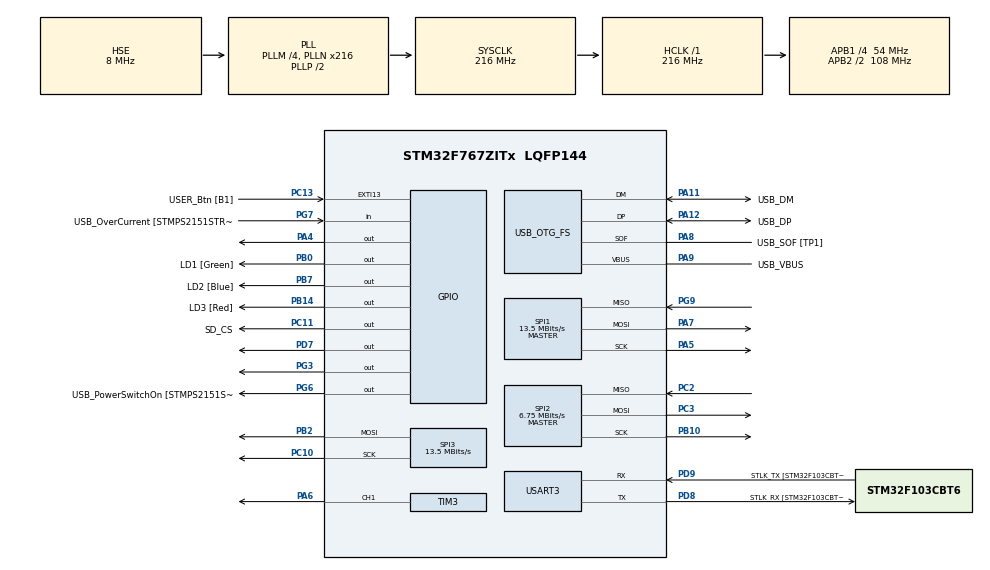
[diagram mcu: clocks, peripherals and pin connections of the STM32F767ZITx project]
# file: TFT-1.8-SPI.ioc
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Dma.Request0=SPI3_TX
Dma.Request1=USART3_RX
Dma.Request2=USART3_TX
Dma.Request3=SPI1_RX
Dma.Request4=SPI1_TX
Dma.SPI1_RX.3.Direction=DMA_PERIPH_TO_MEMORY
Dma.SPI1_RX.3.FIFOMode=DMA_FIFOMODE_DISABLE
Dma.SPI1_RX.3.Instance=DMA2_Stream0
Dma.SPI1_RX.3.MemDataAlignment=DMA_MDATAALIGN_BYTE
Dma.SPI1_RX.3.MemInc=DMA_MINC_ENABLE
Dma.SPI1_RX.3.Mode=DMA_NORMAL
Dma.SPI1_RX.3.PeriphDataAlignment=DMA_PDATAALIGN_BYTE
Dma.SPI1_RX.3.PeriphInc=DMA_PINC_DISABLE
Dma.SPI1_RX.3.Priority=DMA_PRIORITY_HIGH
Dma.SPI1_TX.4.Direction=DMA_MEMORY_TO_PERIPH
Dma.SPI1_TX.4.FIFOMode=DMA_FIFOMODE_DISABLE
Dma.SPI1_TX.4.Instance=DMA2_Stream3
Dma.SPI1_TX.4.MemDataAlignment=DMA_MDATAALIGN_BYTE
Dma.SPI1_TX.4.MemInc=DMA_MINC_ENABLE
Dma.SPI1_TX.4.Mode=DMA_NORMAL
Dma.SPI1_TX.4.PeriphDataAlignment=DMA_PDATAALIGN_BYTE
Dma.SPI1_TX.4.PeriphInc=DMA_PINC_DISABLE
Dma.SPI1_TX.4.Priority=DMA_PRIORITY_HIGH
Dma.SPI3_TX.0.Direction=DMA_MEMORY_TO_PERIPH
Dma.SPI3_TX.0.FIFOMode=DMA_FIFOMODE_DISABLE
Dma.SPI3_TX.0.Instance=DMA1_Stream5
Dma.SPI3_TX.0.MemDataAlignment=DMA_MDATAALIGN_BYTE
Dma.SPI3_TX.0.MemInc=DMA_MINC_ENABLE
Dma.SPI3_TX.0.Mode=DMA_NORMAL
Dma.SPI3_TX.0.PeriphDataAlignment=DMA_PDATAALIGN_BYTE
Dma.SPI3_TX.0.PeriphInc=DMA_PINC_DISABLE
Dma.SPI3_TX.0.Priority=DMA_PRIORITY_LOW
Dma.USART3_RX.1.Direction=DMA_PERIPH_TO_MEMORY
Dma.USART3_RX.1.FIFOMode=DMA_FIFOMODE_DISABLE
Dma.USART3_RX.1.Instance=DMA1_Stream1
Dma.USART3_RX.1.MemDataAlignment=DMA_MDATAALIGN_BYTE
Dma.USART3_RX.1.MemInc=DMA_MINC_ENABLE
Dma.USART3_RX.1.Mode=DMA_NORMAL
Dma.USART3_RX.1.PeriphDataAlignment=DMA_PDATAALIGN_BYTE
Dma.USART3_RX.1.PeriphInc=DMA_PINC_DISABLE
Dma.USART3_RX.1.Priority=DMA_PRIORITY_MEDIUM
Dma.USART3_TX.2.Direction=DMA_MEMORY_TO_PERIPH
Dma.USART3_TX.2.FIFOMode=DMA_FIFOMODE_DISABLE
Dma.USART3_TX.2.Instance=DMA1_Stream3
Dma.USART3_TX.2.MemDataAlignment=DMA_MDATAALIGN_BYTE
Dma.USART3_TX.2.MemInc=DMA_MINC_ENABLE
Dma.USART3_TX.2.Mode=DMA_NORMAL
Dma.USART3_TX.2.PeriphDataAlignment=DMA_PDATAALIGN_BYTE
Dma.USART3_TX.2.PeriphInc=DMA_PINC_DISABLE
Dma.USART3_TX.2.Priority=DMA_PRIORITY_MEDIUM
FATFS._FS_RPATH=1
FREERTOS.Tasks01=StartDefaultTas,24,256,StartDefaultTask,Default,NULL,Dynamic,NULL,NULL;DisplayTask,24,512,StartDisplayTask,Default,NULL,Dynamic,NULL,NULL;SDCardTask,24,1024,StartSDCardTask,Default,NULL,Dynamic,NULL,NULL;UARTTask,24,512,StartUARTTask,Default,NULL,Dynamic,NULL,NULL
FREERTOS.configTOTAL_HEAP_SIZE=40000
Mcu.Family=STM32F7
Mcu.Name=STM32F767ZITx
Mcu.Package=LQFP144
NVIC.DMA1_Stream1_IRQn=true\:5\:0\:false\:false\:true\:true\:false\:true\:true
NVIC.DMA1_Stream3_IRQn=true\:5\:0\:false\:false\:true\:true\:false\:true\:true
NVIC.DMA1_Stream5_IRQn=true\:5\:0\:false\:false\:true\:true\:false\:true\:true
NVIC.DMA2_Stream0_IRQn=true\:5\:0\:false\:false\:true\:true\:false\:true\:true
NVIC.DMA2_Stream3_IRQn=true\:5\:0\:false\:false\:true\:true\:false\:true\:true
NVIC.PriorityGroup=NVIC_PRIORITYGROUP_4
NVIC.SPI1_IRQn=true\:5\:0\:false\:false\:true\:true\:true\:true\:true
NVIC.SPI2_IRQn=true\:5\:0\:false\:false\:true\:true\:true\:true\:true
NVIC.TIM6_DAC_IRQn=true\:15\:0\:false\:false\:true\:false\:false\:true\:true
NVIC.TimeBase=TIM6_DAC_IRQn
NVIC.TimeBaseIP=TIM6
NVIC.USART3_IRQn=true\:6\:0\:true\:false\:true\:true\:true\:true\:true
PA1.GPIO_Label=RMII_REF_CLK [LAN8742A-CZ-TR_REFCLK0]
PA1.Signal=ETH_REF_CLK
PA10.GPIO_Label=USB_ID
PA10.Signal=USB_OTG_FS_ID
PA11.GPIO_Label=USB_DM
PA11.Mode=Device_Only
PA11.Signal=USB_OTG_FS_DM
PA12.GPIO_Label=USB_DP
PA12.Mode=Device_Only
PA12.Signal=USB_OTG_FS_DP
PA13.GPIO_Label=TMS
PA13.Mode=Serial_Wire
PA13.Signal=SYS_JTMS-SWDIO
PA14.GPIO_Label=TCK
PA14.Mode=Serial_Wire
PA14.Signal=SYS_JTCK-SWCLK
PA2.GPIO_Label=RMII_MDIO [LAN8742A-CZ-TR_MDIO]
PA2.Signal=ETH_MDIO
PA4.Signal=GPIO_Output
PA5.Mode=Full_Duplex_Master
PA5.Signal=SPI1_SCK
PA6.Signal=S_TIM3_CH1
PA7.Mode=Full_Duplex_Master
PA7.Signal=SPI1_MOSI
PA8.GPIO_Label=USB_SOF [TP1]
PA8.Mode=Activate_SOF_FS
PA8.Signal=USB_OTG_FS_SOF
PA9.GPIO_Label=USB_VBUS
PA9.Mode=Activate_VBUS
PA9.Signal=USB_OTG_FS_VBUS
PB0.GPIO_Label=LD1 [Green]
PB0.Signal=GPIO_Output
PB10.Mode=Full_Duplex_Master
PB10.Signal=SPI2_SCK
PB13.GPIO_Label=RMII_TXD1 [LAN8742A-CZ-TR_TXD1]
PB13.Signal=ETH_TXD1
PB14.GPIO_Label=LD3 [Red]
PB14.Signal=GPIO_Output
PB2.Mode=TX_Only_Simplex_Unidirect_Master
PB2.Signal=SPI3_MOSI
PB3.GPIO_Label=SWO
PB3.Signal=SYS_JTDO-SWO
PB7.GPIO_Label=LD2 [Blue]
PB7.Signal=GPIO_Output
PC1.GPIO_Label=RMII_MDC [LAN8742A-CZ-TR_MDC]
PC1.Signal=ETH_MDC
PC10.Mode=TX_Only_Simplex_Unidirect_Master
PC10.Signal=SPI3_SCK
PC11.GPIO_Label=SD_CS
PC11.GPIO_Speed=GPIO_SPEED_FREQ_HIGH
PC11.PinState=GPIO_PIN_SET
PC11.Signal=GPIO_Output
PC13.GPIO_Label=USER_Btn [B1]
PC13.Signal=GPXTI13
PC14/OSC32_IN.Mode=LSE-External-Oscillator
PC14/OSC32_IN.Signal=RCC_OSC32_IN
PC15/OSC32_OUT.Mode=LSE-External-Oscillator
PC15/OSC32_OUT.Signal=RCC_OSC32_OUT
PC2.Mode=Full_Duplex_Master
PC2.Signal=SPI2_MISO
PC3.Mode=Full_Duplex_Master
PC3.Signal=SPI2_MOSI
PC4.GPIO_Label=RMII_RXD0 [LAN8742A-CZ-TR_RXD0]
PC4.Signal=ETH_RXD0
PC5.GPIO_Label=RMII_RXD1 [LAN8742A-CZ-TR_RXD1]
PC5.Signal=ETH_RXD1
PD7.Signal=GPIO_Output
PD8.GPIO_Label=STLK_RX [STM32F103CBT6_PA3]
PD8.Mode=Asynchronous
PD8.Signal=USART3_TX
PD9.GPIO_Label=STLK_TX [STM32F103CBT6_PA2]
PD9.Mode=Asynchronous
PD9.Signal=USART3_RX
PG11.GPIO_Label=RMII_TX_EN [LAN8742A-CZ-TR_TXEN]
PG11.Signal=ETH_TX_EN
PG13.GPIO_Label=RMII_TXD0 [LAN8742A-CZ-TR_TXD0]
PG13.Signal=ETH_TXD0
PG3.Signal=GPIO_Output
PG6.GPIO_Label=USB_PowerSwitchOn [STMPS2151STR_EN]
PG6.Signal=GPIO_Output
PG7.GPIO_Label=USB_OverCurrent [STMPS2151STR_FAULT]
PG7.Signal=GPIO_Input
PG9.GPIO_PuPd=GPIO_PULLUP
PG9.Mode=Full_Duplex_Master
PG9.Signal=SPI1_MISO
PH0/OSC_IN.GPIO_Label=MCO [STM32F103CBT6_PA8]
PH0/OSC_IN.Mode=HSE-External-Clock-Source
PH0/OSC_IN.Signal=RCC_OSC_IN
PH1/OSC_OUT.Mode=HSE-External-Clock-Source
PH1/OSC_OUT.Signal=RCC_OSC_OUT
ProjectManager.HeapSize=0x200
ProjectManager.StackSize=0x400
ProjectManager.TargetToolchain=STM32CubeIDE
RCC.48MHZClocksFreq_Value=24000000
RCC.AHBFreq_Value=216000000
RCC.APB1CLKDivider=RCC_HCLK_DIV4
RCC.APB1Freq_Value=54000000
RCC.APB1TimFreq_Value=108000000
RCC.APB2CLKDivider=RCC_HCLK_DIV2
RCC.APB2Freq_Value=108000000
RCC.APB2TimFreq_Value=216000000
RCC.CortexFreq_Value=216000000
RCC.HCLKFreq_Value=216000000
RCC.HSE_VALUE=8000000
RCC.HSI_VALUE=16000000
RCC.PLLM=4
RCC.PLLMUL=RCC_PLL_MUL9
RCC.PLLN=216
RCC.PLLQ=9
RCC.PRESCALERUSB=RCC_USBCLKSOURCE_PLL_DIV1_5
RCC.SYSCLKFreq_VALUE=216000000
RCC.SYSCLKSource=RCC_SYSCLKSOURCE_PLLCLK
RCC.SYSCLKSourceVirtual=RCC_SYSCLKSOURCE_PLLCLK
RCC.USBFreq_Value=48000000
RCC.VCOOutputFreq_Value=432000000
SH.S_TIM3_CH1.0=TIM3_CH1,PWM Generation1 CH1
SPI1.BaudRatePrescaler=SPI_BAUDRATEPRESCALER_8
SPI1.CLKPhase=SPI_PHASE_2EDGE
SPI1.CLKPolarity=SPI_POLARITY_HIGH
SPI1.CalculateBaudRate=13.5 MBits/s
SPI1.DataSize=SPI_DATASIZE_8BIT
SPI1.Direction=SPI_DIRECTION_2LINES
SPI1.Mode=SPI_MODE_MASTER
SPI1.VirtualType=VM_MASTER
SPI2.BaudRatePrescaler=SPI_BAUDRATEPRESCALER_8
SPI2.CalculateBaudRate=6.75 MBits/s
SPI2.DataSize=SPI_DATASIZE_8BIT
SPI2.Direction=SPI_DIRECTION_2LINES
SPI2.Mode=SPI_MODE_MASTER
SPI2.VirtualType=VM_MASTER
SPI3.BaudRatePrescaler=SPI_BAUDRATEPRESCALER_4
SPI3.CalculateBaudRate=13.5 MBits/s
SPI3.DataSize=SPI_DATASIZE_8BIT
SPI3.Direction=SPI_DIRECTION_2LINES
SPI3.Mode=SPI_MODE_MASTER
SPI3.VirtualType=VM_MASTER
TIM3.AutoReloadPreload=TIM_AUTORELOAD_PRELOAD_ENABLE
TIM3.Channel-PWM\ Generation1\ CH1=TIM_CHANNEL_1
USART3.VirtualMode-Asynchronous=VM_ASYNC
USB_OTG_FS.VirtualMode=Device_Only
VP_FATFS_VS_Generic.Mode=User_defined
VP_FREERTOS_VS_CMSIS_V2.Mode=CMSIS_V2
VP_SYS_VS_tim6.Mode=TIM6
board=NUCLEO-F767ZI

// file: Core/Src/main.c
/* USER CODE BEGIN Header */
/**
  ******************************************************************************
  * @file           : main.c
  * @brief          : Main program body
  ******************************************************************************
  * @attention
  *
  * Copyright (c) 2026 STMicroelectronics.
  * All rights reserved.
  *
  * This software is licensed under terms that can be found in the LICENSE file
  * in the root directory of this software component.
  * If no LICENSE file comes with this software, it is provided AS-IS.
  *
  ******************************************************************************
  */
/* USER CODE END Header */
#include "main.h"
#include "cmsis_os.h"
#include "fatfs.h"

/* USER CODE BEGIN Includes */
#include "sd_card_spi.h"
#include "uart_terminal.h"
#include "ST7735Driver.h"
#include "math.h"
#include "ff.h"
/* USER CODE END Includes */

/* USER CODE BEGIN PD */
#define TFT_CS_PORT    GPIOD
#define TFT_CS_PIN     GPIO_PIN_7

#define TFT_DC_PORT    GPIOD
#define TFT_DC_PIN     GPIO_PIN_5

#define TFT_RST_PORT   GPIOD
#define TFT_RST_PIN    GPIO_PIN_6

#define TFT_LED_PORT   GPIOA
#define TFT_LED_PIN    GPIO_PIN_6

/*
  SD CARD pins (SPI1):
  CS   -> PC11  (GPIO output, manual software control)
  MOSI -> PA7   (SPI1_MOSI, AF5)
  MISO -> PG9   (SPI1_MISO, AF5)
  SCK  -> PA5   (SPI1_SCK,  AF5)

  TFT pins (SPI3):
  LED  -> PA6   (TIM3_CH1 PWM)
  SCK  -> PC10  (SPI3_SCK)
  SDA  -> PB2   (SPI3_MOSI)
  A0   -> PD5   (DC)
  Reset-> PD6
  CS   -> PD7
*/
/* USER CODE END PD */

SPI_HandleTypeDef hspi1;
SPI_HandleTypeDef hspi2;
SPI_HandleTypeDef hspi3;
DMA_HandleTypeDef hdma_spi1_rx;
DMA_HandleTypeDef hdma_spi1_tx;
DMA_HandleTypeDef hdma_spi3_tx;

TIM_HandleTypeDef htim3;

UART_HandleTypeDef huart3;
DMA_HandleTypeDef hdma_usart3_rx;
DMA_HandleTypeDef hdma_usart3_tx;

PCD_HandleTypeDef hpcd_USB_OTG_FS;

/* Definitions for StartDefaultTas */
osThreadId_t StartDefaultTasHandle;
const osThreadAttr_t StartDefaultTas_attributes = {
  .name = "StartDefaultTas",
  .stack_size = 256 * 4,
  .priority = (osPriority_t) osPriorityNormal,
};
/* Definitions for DisplayTask */
osThreadId_t DisplayTaskHandle;
const osThreadAttr_t DisplayTask_attributes = {
  .name = "DisplayTask",
  .stack_size = 512 * 4,
  .priority = (osPriority_t) osPriorityNormal,
};
/* Definitions for SDCardTask */
osThreadId_t SDCardTaskHandle;
const osThreadAttr_t SDCardTask_attributes = {
  .name = "SDCardTask",
  .stack_size = 1024 * 4,
  .priority = (osPriority_t) osPriorityNormal,
};
/* Definitions for UARTTask */
osThreadId_t UARTTaskHandle;
const osThreadAttr_t UARTTask_attributes = {
  .name = "UARTTask",
  .stack_size = 512 * 4,
  .priority = (osPriority_t) osPriorityNormal,
};

void SystemClock_Config(void);
static void MX_GPIO_Init(void);
static void MX_DMA_Init(void);
static void MX_USART3_UART_Init(void);
static void MX_USB_OTG_FS_PCD_Init(void);
static void MX_SPI3_Init(void);
static void MX_SPI1_Init(void);
static void MX_TIM3_Init(void);
static void MX_SPI2_Init(void);
void StartDefaultTask(void *argument);
void StartDisplayTask(void *argument);
void StartSDCardTask(void *argument);
void StartUARTTask(void *argument);

/* USER CODE BEGIN PFP */
void FreeRTOS_AppInit(void);
/* USER CODE END PFP */

int main(void)
{

  /* MCU Configuration--------------------------------------------------------*/

  /* Reset of all peripherals, Initializes the Flash interface and the Systick. */
  HAL_Init();

  /* Configure the system clock */
  SystemClock_Config();

  /* Initialize all configured peripherals */
  MX_GPIO_Init();
  MX_DMA_Init();
  MX_USART3_UART_Init();
  MX_USB_OTG_FS_PCD_Init();
  MX_SPI3_Init();
  MX_SPI1_Init();
  MX_FATFS_Init();
  MX_TIM3_Init();
  MX_SPI2_Init();

  /* Init scheduler */
  osKernelInitialize();

  /* Create the thread(s) */
  /* creation of StartDefaultTas */
  //StartDefaultTasHandle = osThreadNew(StartDefaultTask, NULL, &StartDefaultTas_attributes);

  /* creation of DisplayTask */
  //DisplayTaskHandle = osThreadNew(StartDisplayTask, NULL, &DisplayTask_attributes);

  /* creation of SDCardTask */
  //SDCardTaskHandle = osThreadNew(StartSDCardTask, NULL, &SDCardTask_attributes);

  /* creation of UARTTask */
  //UARTTaskHandle = osThreadNew(StartUARTTask, NULL, &UARTTask_attributes);

  /* Start scheduler */
  osKernelStart();

  /* We should never get here as control is now taken by the scheduler */

  /* Infinite loop */
  while (1)
  {

  }
}

void SystemClock_Config(void)
{
  RCC_OscInitTypeDef RCC_OscInitStruct = {0};
  RCC_ClkInitTypeDef RCC_ClkInitStruct = {0};

  /** Configure LSE Drive Capability
  */
  HAL_PWR_EnableBkUpAccess();

  /** Configure the main internal regulator output voltage
  */
  __HAL_RCC_PWR_CLK_ENABLE();
  __HAL_PWR_VOLTAGESCALING_CONFIG(PWR_REGULATOR_VOLTAGE_SCALE1);

  /** Initializes the RCC Oscillators according to the specified parameters
  * in the RCC_OscInitTypeDef structure.
  */
  RCC_OscInitStruct.OscillatorType = RCC_OSCILLATORTYPE_HSE;
  RCC_OscInitStruct.HSEState = RCC_HSE_BYPASS;
  RCC_OscInitStruct.PLL.PLLState = RCC_PLL_ON;
  RCC_OscInitStruct.PLL.PLLSource = RCC_PLLSOURCE_HSE;
  RCC_OscInitStruct.PLL.PLLM = 4;
  RCC_OscInitStruct.PLL.PLLN = 216;
  RCC_OscInitStruct.PLL.PLLP = RCC_PLLP_DIV2;
  RCC_OscInitStruct.PLL.PLLQ = 9;
  RCC_OscInitStruct.PLL.PLLR = 2;
  if (HAL_RCC_OscConfig(&RCC_OscInitStruct) != HAL_OK)
  {
    Error_Handler();
  }

  /** Activate the Over-Drive mode
  */
  if (HAL_PWREx_EnableOverDrive() != HAL_OK)
  {
    Error_Handler();
  }

  /** Initializes the CPU, AHB and APB buses clocks
  */
  RCC_ClkInitStruct.ClockType = RCC_CLOCKTYPE_HCLK|RCC_CLOCKTYPE_SYSCLK
                              |RCC_CLOCKTYPE_PCLK1|RCC_CLOCKTYPE_PCLK2;
  RCC_ClkInitStruct.SYSCLKSource = RCC_SYSCLKSOURCE_PLLCLK;
  RCC_ClkInitStruct.AHBCLKDivider = RCC_SYSCLK_DIV1;
  RCC_ClkInitStruct.APB1CLKDivider = RCC_HCLK_DIV4;
  RCC_ClkInitStruct.APB2CLKDivider = RCC_HCLK_DIV2;

  if (HAL_RCC_ClockConfig(&RCC_ClkInitStruct, FLASH_LATENCY_7) != HAL_OK)
  {
    Error_Handler();
  }
}

static void MX_SPI1_Init(void)
{

  /* SPI1 parameter configuration*/
  hspi1.Instance = SPI1;
  hspi1.Init.Mode = SPI_MODE_MASTER;
  hspi1.Init.Direction = SPI_DIRECTION_2LINES;
  hspi1.Init.DataSize = SPI_DATASIZE_8BIT;
  hspi1.Init.CLKPolarity = SPI_POLARITY_HIGH;
  hspi1.Init.CLKPhase = SPI_PHASE_2EDGE;
  hspi1.Init.NSS = SPI_NSS_SOFT;
  hspi1.Init.BaudRatePrescaler = SPI_BAUDRATEPRESCALER_8;
  hspi1.Init.FirstBit = SPI_FIRSTBIT_MSB;
  hspi1.Init.TIMode = SPI_TIMODE_DISABLE;
  hspi1.Init.CRCCalculation = SPI_CRCCALCULATION_DISABLE;
  hspi1.Init.CRCPolynomial = 7;
  hspi1.Init.CRCLength = SPI_CRC_LENGTH_DATASIZE;
  hspi1.Init.NSSPMode = SPI_NSS_PULSE_DISABLE;
  if (HAL_SPI_Init(&hspi1) != HAL_OK)
  {
    Error_Handler();
  }

}

static void MX_SPI2_Init(void)
{

  /* SPI2 parameter configuration*/
  hspi2.Instance = SPI2;
  hspi2.Init.Mode = SPI_MODE_MASTER;
  hspi2.Init.Direction = SPI_DIRECTION_2LINES;
  hspi2.Init.DataSize = SPI_DATASIZE_8BIT;
  hspi2.Init.CLKPolarity = SPI_POLARITY_LOW;
  hspi2.Init.CLKPhase = SPI_PHASE_1EDGE;
  hspi2.Init.NSS = SPI_NSS_SOFT;
  hspi2.Init.BaudRatePrescaler = SPI_BAUDRATEPRESCALER_8;
  hspi2.Init.FirstBit = SPI_FIRSTBIT_MSB;
  hspi2.Init.TIMode = SPI_TIMODE_DISABLE;
  hspi2.Init.CRCCalculation = SPI_CRCCALCULATION_DISABLE;
  hspi2.Init.CRCPolynomial = 7;
  hspi2.Init.CRCLength = SPI_CRC_LENGTH_DATASIZE;
  hspi2.Init.NSSPMode = SPI_NSS_PULSE_ENABLE;
  if (HAL_SPI_Init(&hspi2) != HAL_OK)
  {
    Error_Handler();
  }

}

static void MX_SPI3_Init(void)
{

  /* SPI3 parameter configuration*/
  hspi3.Instance = SPI3;
  hspi3.Init.Mode = SPI_MODE_MASTER;
  hspi3.Init.Direction = SPI_DIRECTION_2LINES;
  hspi3.Init.DataSize = SPI_DATASIZE_8BIT;
  hspi3.Init.CLKPolarity = SPI_POLARITY_LOW;
  hspi3.Init.CLKPhase = SPI_PHASE_1EDGE;
  hspi3.Init.NSS = SPI_NSS_SOFT;
  hspi3.Init.BaudRatePrescaler = SPI_BAUDRATEPRESCALER_4;
  hspi3.Init.FirstBit = SPI_FIRSTBIT_MSB;
  hspi3.Init.TIMode = SPI_TIMODE_DISABLE;
  hspi3.Init.CRCCalculation = SPI_CRCCALCULATION_DISABLE;
  hspi3.Init.CRCPolynomial = 7;
  hspi3.Init.CRCLength = SPI_CRC_LENGTH_DATASIZE;
  hspi3.Init.NSSPMode = SPI_NSS_PULSE_ENABLE;
  if (HAL_SPI_Init(&hspi3) != HAL_OK)
  {
    Error_Handler();
  }

}

static void MX_TIM3_Init(void)
{

  TIM_MasterConfigTypeDef sMasterConfig = {0};
  TIM_OC_InitTypeDef sConfigOC = {0};

  htim3.Instance = TIM3;
  htim3.Init.Prescaler = 0;
  htim3.Init.CounterMode = TIM_COUNTERMODE_UP;
  htim3.Init.Period = 65535;
  htim3.Init.ClockDivision = TIM_CLOCKDIVISION_DIV1;
  htim3.Init.AutoReloadPreload = TIM_AUTORELOAD_PRELOAD_ENABLE;
  if (HAL_TIM_PWM_Init(&htim3) != HAL_OK)
  {
    Error_Handler();
  }
  sMasterConfig.MasterOutputTrigger = TIM_TRGO_RESET;
  sMasterConfig.MasterSlaveMode = TIM_MASTERSLAVEMODE_DISABLE;
  if (HAL_TIMEx_MasterConfigSynchronization(&htim3, &sMasterConfig) != HAL_OK)
  {
    Error_Handler();
  }
  sConfigOC.OCMode = TIM_OCMODE_PWM1;
  sConfigOC.Pulse = 0;
  sConfigOC.OCPolarity = TIM_OCPOLARITY_HIGH;
  sConfigOC.OCFastMode = TIM_OCFAST_DISABLE;
  if (HAL_TIM_PWM_ConfigChannel(&htim3, &sConfigOC, TIM_CHANNEL_1) != HAL_OK)
  {
    Error_Handler();
  }
  HAL_TIM_MspPostInit(&htim3);

}

static void MX_USART3_UART_Init(void)
{

  huart3.Instance = USART3;
  huart3.Init.BaudRate = 115200;
  huart3.Init.WordLength = UART_WORDLENGTH_8B;
  huart3.Init.StopBits = UART_STOPBITS_1;
  huart3.Init.Parity = UART_PARITY_NONE;
  huart3.Init.Mode = UART_MODE_TX_RX;
  huart3.Init.HwFlowCtl = UART_HWCONTROL_NONE;
  huart3.Init.OverSampling = UART_OVERSAMPLING_16;
  huart3.Init.OneBitSampling = UART_ONE_BIT_SAMPLE_DISABLE;
  huart3.AdvancedInit.AdvFeatureInit = UART_ADVFEATURE_NO_INIT;
  if (HAL_UART_Init(&huart3) != HAL_OK)
  {
    Error_Handler();
  }

}

static void MX_USB_OTG_FS_PCD_Init(void)
{

  hpcd_USB_OTG_FS.Instance = USB_OTG_FS;
  hpcd_USB_OTG_FS.Init.dev_endpoints = 6;
  hpcd_USB_OTG_FS.Init.speed = PCD_SPEED_FULL;
  hpcd_USB_OTG_FS.Init.dma_enable = DISABLE;
  hpcd_USB_OTG_FS.Init.phy_itface = PCD_PHY_EMBEDDED;
  hpcd_USB_OTG_FS.Init.Sof_enable = ENABLE;
  hpcd_USB_OTG_FS.Init.low_power_enable = DISABLE;
  hpcd_USB_OTG_FS.Init.lpm_enable = DISABLE;
  hpcd_USB_OTG_FS.Init.vbus_sensing_enable = ENABLE;
  hpcd_USB_OTG_FS.Init.use_dedicated_ep1 = DISABLE;
  if (HAL_PCD_Init(&hpcd_USB_OTG_FS) != HAL_OK)
  {
    Error_Handler();
  }

}

static void MX_DMA_Init(void)
{

  /* DMA controller clock enable */
  __HAL_RCC_DMA1_CLK_ENABLE();
  __HAL_RCC_DMA2_CLK_ENABLE();

  /* DMA interrupt init */
  /* DMA1_Stream1_IRQn interrupt configuration */
  HAL_NVIC_SetPriority(DMA1_Stream1_IRQn, 5, 0);
  HAL_NVIC_EnableIRQ(DMA1_Stream1_IRQn);
  /* DMA1_Stream3_IRQn interrupt configuration */
  HAL_NVIC_SetPriority(DMA1_Stream3_IRQn, 5, 0);
  HAL_NVIC_EnableIRQ(DMA1_Stream3_IRQn);
  /* DMA1_Stream5_IRQn interrupt configuration */
  HAL_NVIC_SetPriority(DMA1_Stream5_IRQn, 5, 0);
  HAL_NVIC_EnableIRQ(DMA1_Stream5_IRQn);
  /* DMA2_Stream0_IRQn interrupt configuration */
  HAL_NVIC_SetPriority(DMA2_Stream0_IRQn, 5, 0);
  HAL_NVIC_EnableIRQ(DMA2_Stream0_IRQn);
  /* DMA2_Stream3_IRQn interrupt configuration */
  HAL_NVIC_SetPriority(DMA2_Stream3_IRQn, 5, 0);
  HAL_NVIC_EnableIRQ(DMA2_Stream3_IRQn);

}

static void MX_GPIO_Init(void)
{
  GPIO_InitTypeDef GPIO_InitStruct = {0};

  /* GPIO Ports Clock Enable */
  __HAL_RCC_GPIOC_CLK_ENABLE();
  __HAL_RCC_GPIOH_CLK_ENABLE();
  __HAL_RCC_GPIOA_CLK_ENABLE();
  __HAL_RCC_GPIOB_CLK_ENABLE();
  __HAL_RCC_GPIOD_CLK_ENABLE();
  __HAL_RCC_GPIOG_CLK_ENABLE();

  /*Configure GPIO pin Output Level */
  HAL_GPIO_WritePin(GPIOA, GPIO_PIN_4, GPIO_PIN_RESET);

  /*Configure GPIO pin Output Level */
  HAL_GPIO_WritePin(GPIOB, LD1_Pin|LD3_Pin|LD2_Pin, GPIO_PIN_RESET);

  /*Configure GPIO pin Output Level */
  HAL_GPIO_WritePin(GPIOG, GPIO_PIN_3|USB_PowerSwitchOn_Pin, GPIO_PIN_RESET);

  /*Configure GPIO pin Output Level */
  HAL_GPIO_WritePin(SD_CS_GPIO_Port, SD_CS_Pin, GPIO_PIN_SET);

  /*Configure GPIO pin Output Level */
  HAL_GPIO_WritePin(GPIOD, GPIO_PIN_7, GPIO_PIN_RESET);

  /*Configure GPIO pin : USER_Btn_Pin */
  GPIO_InitStruct.Pin = USER_Btn_Pin;
  GPIO_InitStruct.Mode = GPIO_MODE_IT_RISING;
  GPIO_InitStruct.Pull = GPIO_NOPULL;
  HAL_GPIO_Init(USER_Btn_GPIO_Port, &GPIO_InitStruct);

  /*Configure GPIO pins : RMII_MDC_Pin RMII_RXD0_Pin RMII_RXD1_Pin */
  GPIO_InitStruct.Pin = RMII_MDC_Pin|RMII_RXD0_Pin|RMII_RXD1_Pin;
  GPIO_InitStruct.Mode = GPIO_MODE_AF_PP;
  GPIO_InitStruct.Pull = GPIO_NOPULL;
  GPIO_InitStruct.Speed = GPIO_SPEED_FREQ_VERY_HIGH;
  GPIO_InitStruct.Alternate = GPIO_AF11_ETH;
  HAL_GPIO_Init(GPIOC, &GPIO_InitStruct);

  /*Configure GPIO pins : RMII_REF_CLK_Pin RMII_MDIO_Pin */
  GPIO_InitStruct.Pin = RMII_REF_CLK_Pin|RMII_MDIO_Pin;
  GPIO_InitStruct.Mode = GPIO_MODE_AF_PP;
  GPIO_InitStruct.Pull = GPIO_NOPULL;
  GPIO_InitStruct.Speed = GPIO_SPEED_FREQ_VERY_HIGH;
  GPIO_InitStruct.Alternate = GPIO_AF11_ETH;
  HAL_GPIO_Init(GPIOA, &GPIO_InitStruct);

  /*Configure GPIO pin : PA4 */
  GPIO_InitStruct.Pin = GPIO_PIN_4;
  GPIO_InitStruct.Mode = GPIO_MODE_OUTPUT_PP;
  GPIO_InitStruct.Pull = GPIO_NOPULL;
  GPIO_InitStruct.Speed = GPIO_SPEED_FREQ_LOW;
  HAL_GPIO_Init(GPIOA, &GPIO_InitStruct);

  /*Configure GPIO pins : LD1_Pin LD3_Pin LD2_Pin */
  GPIO_InitStruct.Pin = LD1_Pin|LD3_Pin|LD2_Pin;
  GPIO_InitStruct.Mode = GPIO_MODE_OUTPUT_PP;
  GPIO_InitStruct.Pull = GPIO_NOPULL;
  GPIO_InitStruct.Speed = GPIO_SPEED_FREQ_LOW;
  HAL_GPIO_Init(GPIOB, &GPIO_InitStruct);

  /*Configure GPIO pin : RMII_TXD1_Pin */
  GPIO_InitStruct.Pin = RMII_TXD1_Pin;
  GPIO_InitStruct.Mode = GPIO_MODE_AF_PP;
  GPIO_InitStruct.Pull = GPIO_NOPULL;
  GPIO_InitStruct.Speed = GPIO_SPEED_FREQ_VERY_HIGH;
  GPIO_InitStruct.Alternate = GPIO_AF11_ETH;
  HAL_GPIO_Init(RMII_TXD1_GPIO_Port, &GPIO_InitStruct);

  /*Configure GPIO pins : PG3 USB_PowerSwitchOn_Pin */
  GPIO_InitStruct.Pin = GPIO_PIN_3|USB_PowerSwitchOn_Pin;
  GPIO_InitStruct.Mode = GPIO_MODE_OUTPUT_PP;
  GPIO_InitStruct.Pull = GPIO_NOPULL;
  GPIO_InitStruct.Speed = GPIO_SPEED_FREQ_LOW;
  HAL_GPIO_Init(GPIOG, &GPIO_InitStruct);

  /*Configure GPIO pin : USB_OverCurrent_Pin */
  GPIO_InitStruct.Pin = USB_OverCurrent_Pin;
  GPIO_InitStruct.Mode = GPIO_MODE_INPUT;
  GPIO_InitStruct.Pull = GPIO_NOPULL;
  HAL_GPIO_Init(USB_OverCurrent_GPIO_Port, &GPIO_InitStruct);

  /*Configure GPIO pin : SD_CS_Pin */
  GPIO_InitStruct.Pin = SD_CS_Pin;
  GPIO_InitStruct.Mode = GPIO_MODE_OUTPUT_PP;
  GPIO_InitStruct.Pull = GPIO_NOPULL;
  GPIO_InitStruct.Speed = GPIO_SPEED_FREQ_HIGH;
  HAL_GPIO_Init(SD_CS_GPIO_Port, &GPIO_InitStruct);

  /*Configure GPIO pin : PD7 */
  GPIO_InitStruct.Pin = GPIO_PIN_7;
  GPIO_InitStruct.Mode = GPIO_MODE_OUTPUT_PP;
  GPIO_InitStruct.Pull = GPIO_NOPULL;
  GPIO_InitStruct.Speed = GPIO_SPEED_FREQ_LOW;
  HAL_GPIO_Init(GPIOD, &GPIO_InitStruct);

  /*Configure GPIO pins : RMII_TX_EN_Pin RMII_TXD0_Pin */
  GPIO_InitStruct.Pin = RMII_TX_EN_Pin|RMII_TXD0_Pin;
  GPIO_InitStruct.Mode = GPIO_MODE_AF_PP;
  GPIO_InitStruct.Pull = GPIO_NOPULL;
  GPIO_InitStruct.Speed = GPIO_SPEED_FREQ_VERY_HIGH;
  GPIO_InitStruct.Alternate = GPIO_AF11_ETH;
  HAL_GPIO_Init(GPIOG, &GPIO_InitStruct);

}

void StartDefaultTask(void *argument)
{
  /* USER CODE BEGIN 5 */
  for (;;)
  {
    osDelay(1000);
  }
  /* USER CODE END 5 */
}

void StartDisplayTask(void *argument)
{
  for(;;)
  {
    osDelay(1);
  }
}

void StartSDCardTask(void *argument)
{
  for(;;)
  {
    osDelay(1);
  }
}

void StartUARTTask(void *argument)
{
  for(;;)
  {
    osDelay(1);
  }
}

void HAL_TIM_PeriodElapsedCallback(TIM_HandleTypeDef *htim)
{
  if (htim->Instance == TIM6)
  {
    HAL_IncTick();
  }
}

void Error_Handler(void)
{
  __disable_irq();
  while (1)
  {
  }
}

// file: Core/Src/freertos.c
/* USER CODE BEGIN Header */
/**
  ******************************************************************************
  * File Name          : freertos.c
  * Description        : Code for freertos applications
  ******************************************************************************
  * @attention
  *
  * Copyright (c) 2026 STMicroelectronics.
  * All rights reserved.
  *
  * This software is licensed under terms that can be found in the LICENSE file
  * in the root directory of this software component.
  * If no LICENSE file comes with this software, it is provided AS-IS.
  *
  ******************************************************************************
  */
/* USER CODE END Header */

#include "FreeRTOS.h"
#include "task.h"
#include "main.h"

/* USER CODE BEGIN Includes */
#include <stdint.h>

/* USER CODE END Includes */

/* USER CODE BEGIN Variables */
static volatile uint32_t idle_counter = 0;
/* USER CODE END Variables */

/* USER CODE BEGIN Application */

void vApplicationIdleHook(void) {
  /* Increment a counter each time the idle task runs.
   * The display task uses this to estimate CPU usage. */
  idle_counter++;
}

uint32_t FreeRTOS_GetIdleCounter(void) {
  return idle_counter;
}

/* USER CODE END Application */
